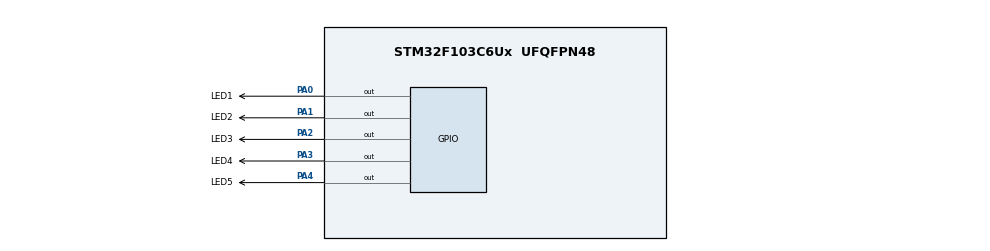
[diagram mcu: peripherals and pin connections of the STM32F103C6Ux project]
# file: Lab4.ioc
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Mcu.Family=STM32F1
Mcu.Name=STM32F103C6Ux
Mcu.Package=UFQFPN48
NVIC.PriorityGroup=NVIC_PRIORITYGROUP_4
NVIC.TIM2_IRQn=true\:0\:0\:false\:false\:true\:true\:true
PA0-WKUP.GPIO_Label=LED1
PA0-WKUP.Signal=GPIO_Output
PA1.GPIO_Label=LED2
PA1.Signal=GPIO_Output
PA2.GPIO_Label=LED3
PA2.Signal=GPIO_Output
PA3.GPIO_Label=LED4
PA3.Signal=GPIO_Output
PA4.GPIO_Label=LED5
PA4.Signal=GPIO_Output
ProjectManager.HeapSize=0x200
ProjectManager.StackSize=0x400
ProjectManager.TargetToolchain=STM32CubeIDE
RCC.APB1Freq_Value=8000000
RCC.APB2Freq_Value=8000000
TIM2.Period=9
TIM2.Prescaler=7999
VP_SYS_VS_ND.Mode=No_Debug
VP_TIM2_VS_ClockSourceINT.Mode=Internal
board=custom

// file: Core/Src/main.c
/* USER CODE BEGIN Header */
/**
  ******************************************************************************
  * @file           : main.c
  * @brief          : Main program body
  ******************************************************************************
  * @attention
  *
  * <h2><center>&copy; Copyright (c) 2023 STMicroelectronics.
  * All rights reserved.</center></h2>
  *
  * This software component is licensed by ST under BSD 3-Clause license,
  * the "License"; You may not use this file except in compliance with the
  * License. You may obtain a copy of the License at:
  *                        opensource.org/licenses/BSD-3-Clause
  *
  ******************************************************************************
  */
/* USER CODE END Header */
#include "main.h"
#include "sched.h"

TIM_HandleTypeDef htim2;

void SystemClock_Config(void);
static void MX_GPIO_Init(void);
static void MX_TIM2_Init(void);
/* USER CODE BEGIN PFP */
void LED1test(void);
void LED2test(void);
void LED3test(void);
void LED4test(void);
void LED5test(void);
/* USER CODE END PFP */

int main(void)
{

  /* MCU Configuration--------------------------------------------------------*/

  /* Reset of all peripherals, Initializes the Flash interface and the Systick. */
  HAL_Init();

  /* Configure the system clock */
  SystemClock_Config();

  /* Initialize all configured peripherals */
  MX_GPIO_Init();
  MX_TIM2_Init();
  /* USER CODE BEGIN 2 */
  HAL_TIM_Base_Start_IT(&htim2);
  /* USER CODE END 2 */

  /* Infinite loop */
  /* USER CODE BEGIN WHILE */
  SCH_Add_Task(LED1test, 50, 0); // one-shot task
  SCH_Add_Task(LED2test, 50, 100);
  SCH_Add_Task(LED3test, 50, 150);
  SCH_Add_Task(LED4test, 50, 200);
  SCH_Add_Task(LED5test, 50, 250);
  while (1)
  {
    /* USER CODE END WHILE */

    /* USER CODE BEGIN 3 */
	SCH_Dispatch_Task();
  }
  /* USER CODE END 3 */
}

void SystemClock_Config(void)
{
  RCC_OscInitTypeDef RCC_OscInitStruct = {0};
  RCC_ClkInitTypeDef RCC_ClkInitStruct = {0};

  /** Initializes the RCC Oscillators according to the specified parameters
  * in the RCC_OscInitTypeDef structure.
  */
  RCC_OscInitStruct.OscillatorType = RCC_OSCILLATORTYPE_HSI;
  RCC_OscInitStruct.HSIState = RCC_HSI_ON;
  RCC_OscInitStruct.HSICalibrationValue = RCC_HSICALIBRATION_DEFAULT;
  RCC_OscInitStruct.PLL.PLLState = RCC_PLL_NONE;
  if (HAL_RCC_OscConfig(&RCC_OscInitStruct) != HAL_OK)
  {
    Error_Handler();
  }
  /** Initializes the CPU, AHB and APB buses clocks
  */
  RCC_ClkInitStruct.ClockType = RCC_CLOCKTYPE_HCLK|RCC_CLOCKTYPE_SYSCLK
                              |RCC_CLOCKTYPE_PCLK1|RCC_CLOCKTYPE_PCLK2;
  RCC_ClkInitStruct.SYSCLKSource = RCC_SYSCLKSOURCE_HSI;
  RCC_ClkInitStruct.AHBCLKDivider = RCC_SYSCLK_DIV1;
  RCC_ClkInitStruct.APB1CLKDivider = RCC_HCLK_DIV1;
  RCC_ClkInitStruct.APB2CLKDivider = RCC_HCLK_DIV1;

  if (HAL_RCC_ClockConfig(&RCC_ClkInitStruct, FLASH_LATENCY_0) != HAL_OK)
  {
    Error_Handler();
  }
}

static void MX_TIM2_Init(void)
{

  TIM_ClockConfigTypeDef sClockSourceConfig = {0};
  TIM_MasterConfigTypeDef sMasterConfig = {0};

  htim2.Instance = TIM2;
  htim2.Init.Prescaler = 7999;
  htim2.Init.CounterMode = TIM_COUNTERMODE_UP;
  htim2.Init.Period = 9;
  htim2.Init.ClockDivision = TIM_CLOCKDIVISION_DIV1;
  htim2.Init.AutoReloadPreload = TIM_AUTORELOAD_PRELOAD_DISABLE;
  if (HAL_TIM_Base_Init(&htim2) != HAL_OK)
  {
    Error_Handler();
  }
  sClockSourceConfig.ClockSource = TIM_CLOCKSOURCE_INTERNAL;
  if (HAL_TIM_ConfigClockSource(&htim2, &sClockSourceConfig) != HAL_OK)
  {
    Error_Handler();
  }
  sMasterConfig.MasterOutputTrigger = TIM_TRGO_RESET;
  sMasterConfig.MasterSlaveMode = TIM_MASTERSLAVEMODE_DISABLE;
  if (HAL_TIMEx_MasterConfigSynchronization(&htim2, &sMasterConfig) != HAL_OK)
  {
    Error_Handler();
  }

}

static void MX_GPIO_Init(void)
{
  GPIO_InitTypeDef GPIO_InitStruct = {0};

  /* GPIO Ports Clock Enable */
  __HAL_RCC_GPIOA_CLK_ENABLE();

  /*Configure GPIO pin Output Level */
  HAL_GPIO_WritePin(GPIOA, LED1_Pin|LED2_Pin|LED3_Pin|LED4_Pin
                          |LED5_Pin, GPIO_PIN_RESET);

  /*Configure GPIO pins : LED1_Pin LED2_Pin LED3_Pin LED4_Pin
                           LED5_Pin */
  GPIO_InitStruct.Pin = LED1_Pin|LED2_Pin|LED3_Pin|LED4_Pin
                          |LED5_Pin;
  GPIO_InitStruct.Mode = GPIO_MODE_OUTPUT_PP;
  GPIO_InitStruct.Pull = GPIO_NOPULL;
  GPIO_InitStruct.Speed = GPIO_SPEED_FREQ_LOW;
  HAL_GPIO_Init(GPIOA, &GPIO_InitStruct);

}

/* USER CODE BEGIN 4 */
void HAL_TIM_PeriodElapsedCallback ( TIM_HandleTypeDef * htim ) {
	SCH_Update();
}
void LED1test(void){
	HAL_GPIO_TogglePin(LED1_GPIO_Port, LED1_Pin);
}
void LED2test(void){
	HAL_GPIO_TogglePin(LED2_GPIO_Port, LED2_Pin);
}
void LED3test(void){
	HAL_GPIO_TogglePin(LED3_GPIO_Port, LED3_Pin);
}
void LED4test(void){
	HAL_GPIO_TogglePin(LED4_GPIO_Port, LED4_Pin);
}
void LED5test(void){
	HAL_GPIO_TogglePin(LED5_GPIO_Port, LED5_Pin);
}
/* USER CODE END 4 */

void Error_Handler(void)
{
  __disable_irq();
  while (1)
  {
  }
}

/************************ (C) COPYRIGHT STMicroelectronics *****END OF FILE****/
